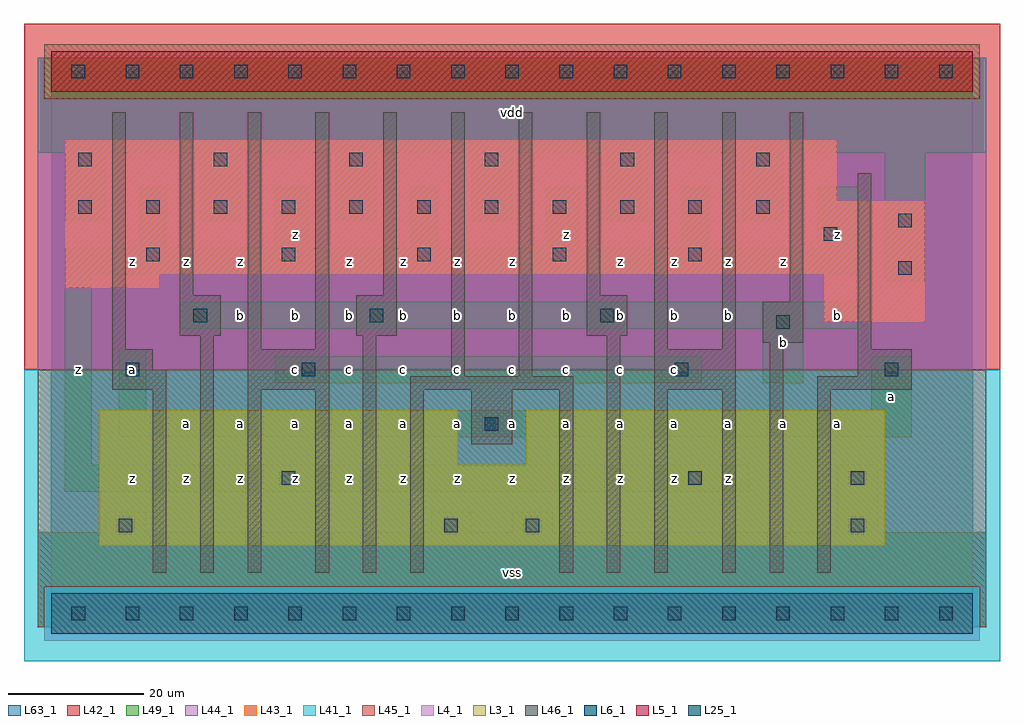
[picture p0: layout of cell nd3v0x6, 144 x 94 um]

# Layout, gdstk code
import gdstk
lib = gdstk.Library(unit=1e-6, precision=1e-09)
def R(c, l, rs):  # rectangles x0, y0, x1, y1
    for r in rs: c.add(gdstk.rectangle(r[:2], r[2:], *l))
def A(c, l, x, y, w, h, nx, ny, dx, dy):  # array of equal rectangles
    R(c, l, [(x+i*dx, y+j*dy, x+i*dx+w, y+j*dy+h) for i in range(nx) for j in range(ny)])
L3_1 = (3, 1)
L4_1 = (4, 1)
L5_1 = (5, 1)
L6_1 = (6, 1)
L25_1 = (25, 1)
L41_1 = (41, 1)
L42_1 = (42, 1)
L43_1 = (43, 1)
L44_1 = (44, 1)
L45_1 = (45, 1)
L46_1 = (46, 1)
L49_1 = (49, 1)
L63_1 = (63, 1)

nd3v0x6 = lib.new_cell('nd3v0x6')
R(nd3v0x6, L3_1, [(7,10,123,22), (7,22,60,30), (70,22,123,30)])
R(nd3v0x6, L4_1, [(114,43,129,50), (2,48,16,50), (2,50,129,61), (2,61,116,70)])
R(nd3v0x6, L5_1, [(0,77,136,83)])
R(nd3v0x6, L6_1, [(0,-3,136,3), (0,-3,136,3)])
A(nd3v0x6, L25_1, 3, -1, 2, 2, 17, 2, 8, 80)
A(nd3v0x6, L25_1, 14, 52, 2, 2, 5, 1, 20, 0)
A(nd3v0x6, L25_1, 4, 59, 2, 2, 11, 1, 10, 0)
A(nd3v0x6, L25_1, 4, 66, 2, 2, 6, 1, 20, 0)
R(nd3v0x6, L25_1, [(10,12,12,14), (58,12,60,14), (70,12,72,14), (118,12,120,14), (34,19,36,21), (94,19,96,21), (118,19,120,21), (64,27,66,29), (11,35,13,37), (37,35,39,37), (92,35,94,37), (123,35,125,37), (107,42,109,44), (21,43,23,45), (47,43,49,45), (81,43,83,45), (125,50,127,52), (114,55,116,57), (125,57,127,59)])
R(nd3v0x6, L41_1, [(-4,-7,140,36)])
R(nd3v0x6, L42_1, [(-4,36,140,87)])
R(nd3v0x6, L43_1, [(0,-3,136,3), (7,10,123,22), (7,22,60,30), (70,22,123,30), (114,43,129,50), (2,48,16,50), (2,50,129,61), (2,61,116,70), (0,77,136,83)])
R(nd3v0x6, L44_1, [(-1,-4,137,4), (-2,36,138,76), (-2,76,-1,82), (137,76,138,82)])
R(nd3v0x6, L45_1, [(-2,-2,-1,4), (137,-2,138,4), (-2,4,138,36), (-1,76,137,84)])
A(nd3v0x6, L46_1, 19, 47, 2, 27, 3, 1, 30, 0)
R(nd3v0x6, L46_1, [(15,6,17,33), (22,6,24,41), (29,6,31,33), (39,6,41,33), (46,6,48,41), (53,6,55,33), (75,6,77,33), (82,6,84,41), (89,6,91,33), (99,6,101,33), (106,6,108,40), (113,6,115,33), (62,25,68,33), (9,33,17,36), (29,33,41,39), (53,33,77,35), (89,33,101,39), (113,33,127,35), (59,35,61,74), (69,35,71,74), (119,35,127,39), (9,36,15,39), (9,39,11,74), (29,39,31,74), (39,39,41,74), (89,39,91,74), (99,39,101,74), (119,39,121,65), (105,40,111,46), (19,41,25,47), (45,41,51,47), (79,41,85,47), (109,46,111,74)])
A(nd3v0x6, L49_1, 13, 54, 4, 9, 3, 1, 40, 0)
A(nd3v0x6, L49_1, 2, 58, 6, 10, 6, 1, 20, 0)
R(nd3v0x6, L49_1, [(-2,-2,138,12), (8,12,14,15), (56,12,62,15), (68,12,74,15), (116,12,122,22), (2,18,103,22), (2,22,6,50), (10,26,127,30), (10,30,14,39), (121,30,127,38), (33,34,96,38), (105,34,111,42), (19,42,119,46), (123,49,129,68), (2,50,119,54), (33,54,38,63), (73,54,78,63), (113,54,119,63), (-2,68,138,82)])
R(nd3v0x6, L63_1, [(0,0,136,80)])
nd3v0x6.add(gdstk.Label('z', (12,20), layer=49, texttype=1))
nd3v0x6.add(gdstk.Label('z', (4,36), layer=49, texttype=1))
nd3v0x6.add(gdstk.Label('a', (12,36), layer=49, texttype=1))
nd3v0x6.add(gdstk.Label('z', (12,52), layer=49, texttype=1))
nd3v0x6.add(gdstk.Label('z', (20,20), layer=49, texttype=1))
nd3v0x6.add(gdstk.Label('z', (28,20), layer=49, texttype=1))
nd3v0x6.add(gdstk.Label('z', (36,20), layer=49, texttype=1))
nd3v0x6.add(gdstk.Label('a', (28,28), layer=49, texttype=1))
nd3v0x6.add(gdstk.Label('a', (36,28), layer=49, texttype=1))
nd3v0x6.add(gdstk.Label('a', (20,28), layer=49, texttype=1))
nd3v0x6.add(gdstk.Label('c', (36,36), layer=49, texttype=1))
nd3v0x6.add(gdstk.Label('b', (28,44), layer=49, texttype=1))
nd3v0x6.add(gdstk.Label('b', (36,44), layer=49, texttype=1))
nd3v0x6.add(gdstk.Label('z', (20,52), layer=49, texttype=1))
nd3v0x6.add(gdstk.Label('z', (28,52), layer=49, texttype=1))
nd3v0x6.add(gdstk.Label('z', (36,56), layer=49, texttype=1))
nd3v0x6.add(gdstk.Label('z', (44,20), layer=49, texttype=1))
nd3v0x6.add(gdstk.Label('z', (52,20), layer=49, texttype=1))
nd3v0x6.add(gdstk.Label('z', (60,20), layer=49, texttype=1))
nd3v0x6.add(gdstk.Label('a', (52,28), layer=49, texttype=1))
nd3v0x6.add(gdstk.Label('a', (60,28), layer=49, texttype=1))
nd3v0x6.add(gdstk.Label('a', (44,28), layer=49, texttype=1))
nd3v0x6.add(gdstk.Label('c', (44,36), layer=49, texttype=1))
nd3v0x6.add(gdstk.Label('c', (52,36), layer=49, texttype=1))
nd3v0x6.add(gdstk.Label('c', (60,36), layer=49, texttype=1))
nd3v0x6.add(gdstk.Label('b', (52,44), layer=49, texttype=1))
nd3v0x6.add(gdstk.Label('b', (60,44), layer=49, texttype=1))
nd3v0x6.add(gdstk.Label('b', (44,44), layer=49, texttype=1))
nd3v0x6.add(gdstk.Label('z', (44,52), layer=49, texttype=1))
nd3v0x6.add(gdstk.Label('z', (52,52), layer=49, texttype=1))
nd3v0x6.add(gdstk.Label('z', (60,52), layer=49, texttype=1))
nd3v0x6.add(gdstk.Label('vss', (68,6), layer=49, texttype=1))
nd3v0x6.add(gdstk.Label('z', (68,20), layer=49, texttype=1))
nd3v0x6.add(gdstk.Label('z', (76,20), layer=49, texttype=1))
nd3v0x6.add(gdstk.Label('z', (84,20), layer=49, texttype=1))
nd3v0x6.add(gdstk.Label('a', (76,28), layer=49, texttype=1))
nd3v0x6.add(gdstk.Label('a', (84,28), layer=49, texttype=1))
nd3v0x6.add(gdstk.Label('a', (68,28), layer=49, texttype=1))
nd3v0x6.add(gdstk.Label('c', (68,36), layer=49, texttype=1))
nd3v0x6.add(gdstk.Label('c', (76,36), layer=49, texttype=1))
nd3v0x6.add(gdstk.Label('c', (84,36), layer=49, texttype=1))
nd3v0x6.add(gdstk.Label('b', (76,44), layer=49, texttype=1))
nd3v0x6.add(gdstk.Label('b', (84,44), layer=49, texttype=1))
nd3v0x6.add(gdstk.Label('b', (68,44), layer=49, texttype=1))
nd3v0x6.add(gdstk.Label('z', (68,52), layer=49, texttype=1))
nd3v0x6.add(gdstk.Label('z', (84,52), layer=49, texttype=1))
nd3v0x6.add(gdstk.Label('z', (76,56), layer=49, texttype=1))
nd3v0x6.add(gdstk.Label('vdd', (68,74), layer=49, texttype=1))
nd3v0x6.add(gdstk.Label('z', (92,20), layer=49, texttype=1))
nd3v0x6.add(gdstk.Label('z', (100,20), layer=49, texttype=1))
nd3v0x6.add(gdstk.Label('a', (100,28), layer=49, texttype=1))
nd3v0x6.add(gdstk.Label('a', (108,28), layer=49, texttype=1))
nd3v0x6.add(gdstk.Label('a', (92,28), layer=49, texttype=1))
nd3v0x6.add(gdstk.Label('c', (92,36), layer=49, texttype=1))
nd3v0x6.add(gdstk.Label('b', (100,44), layer=49, texttype=1))
nd3v0x6.add(gdstk.Label('b', (108,40), layer=49, texttype=1))
nd3v0x6.add(gdstk.Label('b', (92,44), layer=49, texttype=1))
nd3v0x6.add(gdstk.Label('z', (92,52), layer=49, texttype=1))
nd3v0x6.add(gdstk.Label('z', (100,52), layer=49, texttype=1))
nd3v0x6.add(gdstk.Label('z', (108,52), layer=49, texttype=1))
nd3v0x6.add(gdstk.Label('a', (116,28), layer=49, texttype=1))
nd3v0x6.add(gdstk.Label('a', (124,32), layer=49, texttype=1))
nd3v0x6.add(gdstk.Label('b', (116,44), layer=49, texttype=1))
nd3v0x6.add(gdstk.Label('z', (116,56), layer=49, texttype=1))

lib.write_gds('nd3v0x6.gds')
